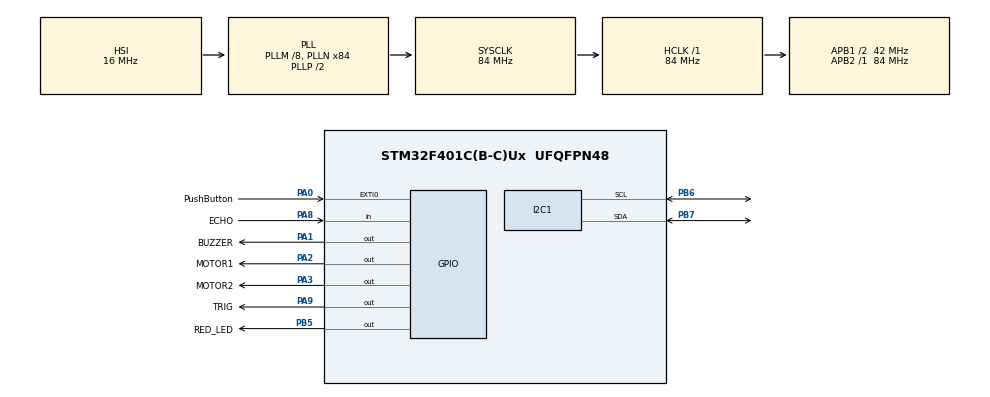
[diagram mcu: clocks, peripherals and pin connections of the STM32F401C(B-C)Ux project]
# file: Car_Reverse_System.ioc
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I2C1.I2C_Mode=I2C_Fast
Mcu.Family=STM32F4
Mcu.Name=STM32F401C(B-C)Ux
Mcu.Package=UFQFPN48
NVIC.EXTI0_IRQn=true\:0\:0\:false\:false\:true\:true\:true\:true
NVIC.PriorityGroup=NVIC_PRIORITYGROUP_4
PA0-WKUP.GPIO_Label=PushButton
PA0-WKUP.GPIO_ModeDefaultEXTI=GPIO_MODE_IT_FALLING
PA0-WKUP.Signal=GPXTI0
PA1.GPIO_Label=BUZZER
PA1.GPIO_Speed=GPIO_SPEED_FREQ_HIGH
PA1.PinState=GPIO_PIN_SET
PA1.Signal=GPIO_Output
PA13.Mode=Serial_Wire
PA13.Signal=SYS_JTMS-SWDIO
PA14.Mode=Serial_Wire
PA14.Signal=SYS_JTCK-SWCLK
PA2.GPIO_Label=MOTOR1
PA2.PinState=GPIO_PIN_SET
PA2.Signal=GPIO_Output
PA3.GPIO_Label=MOTOR2
PA3.PinState=GPIO_PIN_SET
PA3.Signal=GPIO_Output
PA8.GPIO_Label=ECHO
PA8.Signal=GPIO_Input
PA9.GPIO_Label=TRIG
PA9.PinState=GPIO_PIN_RESET
PA9.Signal=GPIO_Output
PB5.GPIO_Label=RED_LED
PB5.Signal=GPIO_Output
PB6.Mode=I2C
PB6.Signal=I2C1_SCL
PB7.Mode=I2C
PB7.Signal=I2C1_SDA
PH0\ -\ OSC_IN.Mode=HSE-External-Oscillator
PH0\ -\ OSC_IN.Signal=RCC_OSC_IN
PH1\ -\ OSC_OUT.Mode=HSE-External-Oscillator
PH1\ -\ OSC_OUT.Signal=RCC_OSC_OUT
ProjectManager.HeapSize=0x200
ProjectManager.StackSize=0x400
ProjectManager.TargetToolchain=STM32CubeIDE
RCC.48MHZClocksFreq_Value=42000000
RCC.AHBFreq_Value=84000000
RCC.APB1CLKDivider=RCC_HCLK_DIV2
RCC.APB1Freq_Value=42000000
RCC.APB1TimFreq_Value=84000000
RCC.APB2Freq_Value=84000000
RCC.APB2TimFreq_Value=84000000
RCC.CortexFreq_Value=84000000
RCC.HCLKFreq_Value=84000000
RCC.HSE_VALUE=25000000
RCC.HSI_VALUE=16000000
RCC.LSE_VALUE=32768
RCC.PLLM=8
RCC.PLLN=84
RCC.SYSCLKFreq_VALUE=84000000
RCC.SYSCLKSource=RCC_SYSCLKSOURCE_PLLCLK
RCC.VCOOutputFreq_Value=168000000
TIM1.Prescaler=83
VP_TIM1_VS_ClockSourceINT.Mode=Internal
board=custom

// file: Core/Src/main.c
/* USER CODE BEGIN Header */
/**
  ******************************************************************************
  * @file           : main.c
  * @brief          : Main program body
  ******************************************************************************
  * @attention
  *
  * Copyright (c) 2024 STMicroelectronics.
  * All rights reserved.
  *
  * This software is licensed under terms that can be found in the LICENSE file
  * in the root directory of this software component.
  * If no LICENSE file comes with this software, it is provided AS-IS.
  *
  ******************************************************************************
  */
/* USER CODE END Header */
#include "main.h"
#include "i2c.h"
#include "tim.h"
#include "gpio.h"

/* USER CODE BEGIN Includes */
#include "fonts.h"
#include "ssd1306.h"
#include "stdio.h"
#include "stdbool.h"
/* USER CODE END Includes */

/* USER CODE BEGIN PV */

// BEEP INTERVALS
#define INTERVAL_1 900
#define INTERVAL_2 500
#define INTERVAL_3 250
#define INTERVAL_4 100

// ULTRASONIC PARAMETERS
#define TRIG_PIN GPIO_PIN_9
#define TRIG_PORT GPIOA
#define ECHO_PIN GPIO_PIN_8
#define ECHO_PORT GPIOA
uint32_t pMillis;
uint32_t Value1 = 0;
uint32_t Value2 = 0;
uint16_t Distance  = 0;
char strCopy[15];

// INTERRUPT PARAMETERS
static bool mode = 0;
uint8_t display = 0;

/* USER CODE END PV */

void SystemClock_Config(void);

/* USER CODE BEGIN 0 */

// Function to let buzzer beep with different time intervals
void beep_modes(int beep_mode) {
    switch (beep_mode) {
      case 0: // Distance < 20cm
    	  HAL_GPIO_WritePin(GPIOA, GPIO_PIN_1, GPIO_PIN_SET); //Set buzzer pin to high
    	  HAL_Delay(100);        // Buzzer ON duration (100 ms)
    	  HAL_GPIO_WritePin(GPIOA, GPIO_PIN_1, GPIO_PIN_RESET); // Set buzzer pin to low
    	  HAL_Delay(INTERVAL_4); // Delay between beeps
    	  break;
      case 1: // Distance < 40cm
    	  HAL_GPIO_WritePin(GPIOA, GPIO_PIN_1, GPIO_PIN_SET);
    	  HAL_Delay(100);
    	  HAL_GPIO_WritePin(GPIOA, GPIO_PIN_1, GPIO_PIN_RESET);
    	  HAL_Delay(INTERVAL_3);
    	  break;
      case 2: // Distance < 60cm
    	  HAL_GPIO_WritePin(GPIOA, GPIO_PIN_1, GPIO_PIN_SET);
    	  HAL_Delay(100);
    	  HAL_GPIO_WritePin(GPIOA, GPIO_PIN_1, GPIO_PIN_RESET);
    	  HAL_Delay(INTERVAL_2);
    	  break;
      case 3: // Distance < 80cm
    	  HAL_GPIO_WritePin(GPIOA, GPIO_PIN_1, GPIO_PIN_SET);
    	  HAL_Delay(100);
    	  HAL_GPIO_WritePin(GPIOA, GPIO_PIN_1, GPIO_PIN_RESET);
    	  HAL_Delay(INTERVAL_1);
    	  break;
    }
}

// INTERRUPT
// Function to loop between CM & INCH once PA0 button is pressed
void HAL_GPIO_EXTI_Callback(uint16_t GPIO_Pin){
	if (mode == false){
		display = 0; // Display in CM
		mode = true;
	} else {
		display = 1; // Display in INCH
		mode = false;
	}
}
/* USER CODE END 0 */

int main(void)
{
  /* USER CODE BEGIN 1 */
  HAL_GPIO_WritePin(GPIOA, GPIO_PIN_1, GPIO_PIN_RESET); // Default turn off buzzer
  HAL_GPIO_WritePin(GPIOA, GPIO_PIN_2 | GPIO_PIN_3, GPIO_PIN_SET); // Default turn on buzzer
  /* USER CODE END 1 */

  /* MCU Configuration--------------------------------------------------------*/

  /* Reset of all peripherals, Initializes the Flash interface and the Systick. */
  HAL_Init();

  /* Configure the system clock */
  SystemClock_Config();

  /* Initialize all configured peripherals */
  MX_GPIO_Init();
  MX_I2C1_Init();
  MX_TIM1_Init();
  /* USER CODE BEGIN 2 */

  // ULTRASONIC
  HAL_TIM_Base_Start(&htim1);
  HAL_GPIO_WritePin(TRIG_PORT, TRIG_PIN, GPIO_PIN_RESET);  // pull the TRIG pin low

  // SSD1306 OLED DISPLAY
  SSD1306_Init();

  /* USER CODE END 2 */

  /* Infinite loop */
  /* USER CODE BEGIN WHILE */
  while (1)
  {
	    // ULTRASONIC
	    HAL_GPIO_WritePin(TRIG_PORT, TRIG_PIN, GPIO_PIN_SET);  // Pull the TRIG pin HIGH
	    __HAL_TIM_SET_COUNTER(&htim1, 0); // Reset timer counter to 0
	    while (__HAL_TIM_GET_COUNTER (&htim1) < 10);  // Wait for 10 us
	    HAL_GPIO_WritePin(TRIG_PORT, TRIG_PIN, GPIO_PIN_RESET);  // Pull the TRIG pin low

	    pMillis = HAL_GetTick(); // Use this to avoid infinite while loop  (for timeout)
	    // Wait for the echo pin to go high
	    while (!(HAL_GPIO_ReadPin (ECHO_PORT, ECHO_PIN)) && pMillis + 10 >  HAL_GetTick());
	    Value1 = __HAL_TIM_GET_COUNTER (&htim1);

	    pMillis = HAL_GetTick(); // Use this to avoid infinite while loop (for timeout)
	    // Wait for the echo pin to go low
	    while ((HAL_GPIO_ReadPin (ECHO_PORT, ECHO_PIN)) && pMillis + 50 > HAL_GetTick());
	    Value2 = __HAL_TIM_GET_COUNTER (&htim1);

	    Distance = (Value2-Value1)* 0.034/2; // Distacne in cm
	    int Distance_inch = Distance/2.54; // Distacne in inch

	    // SSD1306 OLED DISPLAY
	    SSD1306_GotoXY(0, 0);
	    SSD1306_Puts("Distance:", &Font_11x18, 1); // First row, display "Distance:"

	  	if (display == 0){ // Display in cm -> trigger by interrupt
		    sprintf(strCopy, "%d cm    ", Distance);
		    SSD1306_GotoXY(0, 30); // Second Row
	  		if (Distance < 2 || Distance > 80) {
		        SSD1306_Puts("Too far", &Font_16x26, 1); // "Too far" if distance > 80
		    } else {
		        SSD1306_Puts(strCopy, &Font_16x26, 1); // Normal display
		    }

	  	} else { // Display in inch -> trigger by interrupt
		    sprintf(strCopy, "%d inch  ", Distance_inch);
		    SSD1306_GotoXY(0, 30);
	  		if (Distance < 2 || Distance > 80) {
		        SSD1306_Puts("Too far", &Font_16x26, 1);
		    } else {
		        SSD1306_Puts(strCopy, &Font_16x26, 1);
		    }
	  	}

	    SSD1306_UpdateScreen();
	    HAL_Delay(50);

	    // BUZZER
	    if (Distance <= 15) {
	        beep_modes(0); // Highest beep frequency
	        HAL_GPIO_WritePin(GPIOB, GPIO_PIN_5, GPIO_PIN_SET); // Turn on LED
	        HAL_GPIO_WritePin(GPIOA, GPIO_PIN_2 | GPIO_PIN_3, GPIO_PIN_RESET); // Turn off motor
	    } else if (Distance <= 40) {
	        beep_modes(1); // Medium-high beep frequency
	        HAL_GPIO_WritePin(GPIOB, GPIO_PIN_5, GPIO_PIN_RESET); // Turn off LED
	        HAL_GPIO_WritePin(GPIOA, GPIO_PIN_2 | GPIO_PIN_3, GPIO_PIN_SET); // Turn ON motor
	    } else if (Distance <= 60) {
	        beep_modes(2); // Medium beep frequency
	        HAL_GPIO_WritePin(GPIOB, GPIO_PIN_5, GPIO_PIN_RESET); // Turn off LED
	        HAL_GPIO_WritePin(GPIOA, GPIO_PIN_2 | GPIO_PIN_3, GPIO_PIN_SET); // Turn on motor
	    } else if (Distance <= 80) {
	        beep_modes(3); // Lowest beep frequency
	        HAL_GPIO_WritePin(GPIOB, GPIO_PIN_5, GPIO_PIN_RESET); // Turn off LED
	        HAL_GPIO_WritePin(GPIOA, GPIO_PIN_2 | GPIO_PIN_3, GPIO_PIN_SET); // Turn on motor
	    } else { // Distance > 80cm, too far, no beeping
	    	HAL_GPIO_WritePin(GPIOA, GPIO_PIN_1, GPIO_PIN_RESET); // Turn off buzzer
	    	HAL_GPIO_WritePin(GPIOB, GPIO_PIN_5, GPIO_PIN_RESET); // Turn off LED
	        HAL_GPIO_WritePin(GPIOA, GPIO_PIN_2 | GPIO_PIN_3, GPIO_PIN_SET); // Turn on motor
	    }

    /* USER CODE END WHILE */

  }
}

void SystemClock_Config(void)
{
  RCC_OscInitTypeDef RCC_OscInitStruct = {0};
  RCC_ClkInitTypeDef RCC_ClkInitStruct = {0};

  /** Configure the main internal regulator output voltage
  */
  __HAL_RCC_PWR_CLK_ENABLE();
  __HAL_PWR_VOLTAGESCALING_CONFIG(PWR_REGULATOR_VOLTAGE_SCALE2);

  /** Initializes the RCC Oscillators according to the specified parameters
  * in the RCC_OscInitTypeDef structure.
  */
  RCC_OscInitStruct.OscillatorType = RCC_OSCILLATORTYPE_HSI;
  RCC_OscInitStruct.HSIState = RCC_HSI_ON;
  RCC_OscInitStruct.HSICalibrationValue = RCC_HSICALIBRATION_DEFAULT;
  RCC_OscInitStruct.PLL.PLLState = RCC_PLL_ON;
  RCC_OscInitStruct.PLL.PLLSource = RCC_PLLSOURCE_HSI;
  RCC_OscInitStruct.PLL.PLLM = 8;
  RCC_OscInitStruct.PLL.PLLN = 84;
  RCC_OscInitStruct.PLL.PLLP = RCC_PLLP_DIV2;
  RCC_OscInitStruct.PLL.PLLQ = 4;
  if (HAL_RCC_OscConfig(&RCC_OscInitStruct) != HAL_OK)
  {
    Error_Handler();
  }

  /** Initializes the CPU, AHB and APB buses clocks
  */
  RCC_ClkInitStruct.ClockType = RCC_CLOCKTYPE_HCLK|RCC_CLOCKTYPE_SYSCLK
                              |RCC_CLOCKTYPE_PCLK1|RCC_CLOCKTYPE_PCLK2;
  RCC_ClkInitStruct.SYSCLKSource = RCC_SYSCLKSOURCE_PLLCLK;
  RCC_ClkInitStruct.AHBCLKDivider = RCC_SYSCLK_DIV1;
  RCC_ClkInitStruct.APB1CLKDivider = RCC_HCLK_DIV2;
  RCC_ClkInitStruct.APB2CLKDivider = RCC_HCLK_DIV1;

  if (HAL_RCC_ClockConfig(&RCC_ClkInitStruct, FLASH_LATENCY_2) != HAL_OK)
  {
    Error_Handler();
  }
}

void Error_Handler(void)
{
  __disable_irq();
  while (1)
  {
  }
}
